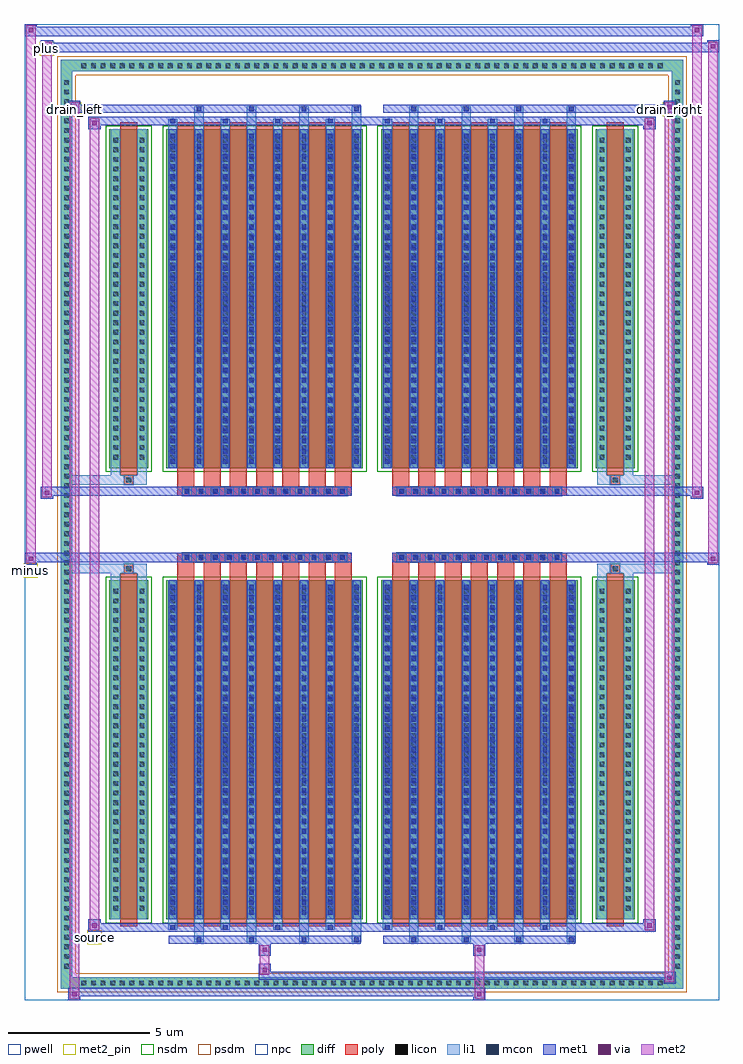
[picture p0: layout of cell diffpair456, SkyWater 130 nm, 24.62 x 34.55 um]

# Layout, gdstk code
import gdstk
lib = gdstk.Library(unit=1e-6, precision=5e-09)
def R(c, l, rs):  # rectangles x0, y0, x1, y1
    for r in rs: c.add(gdstk.rectangle(r[:2], r[2:], *l))
def A(c, l, x, y, w, h, nx, ny, dx, dy):  # array of equal rectangles
    R(c, l, [(x+i*dx, y+j*dy, x+i*dx+w, y+j*dy+h) for i in range(nx) for j in range(ny)])
def P(c, l, *ps):  # polygons
    for p in ps: c.add(gdstk.Polygon(p, *l))
pwell = (64, 44)
diff = (65, 20)
poly = (66, 20)
licon = (66, 44)
li1 = (67, 20)
mcon = (67, 44)
met1 = (68, 20)
via = (68, 44)
met2_pin = (69, 16)
met2 = (69, 20)
nsdm = (93, 44)
psdm = (94, 20)
npc = (95, 20)

diffpair456 = lib.new_cell('diffpair456')
R(diffpair456, pwell, [(-12.29,-16.84,12.29,17.71), (-9.61,-15.03,-0.01,-0.805), (0.01,-15.03,9.61,-0.805), (-9.61,0.805,-0.01,15.03), (0.01,0.805,9.61,15.03)])
A(diffpair456, diff, -10.405, -16.44, 0.41, 0.41, 61, 2, 0.34, 32.47)
A(diffpair456, diff, -11.02, -15.845, 0.41, 0.41, 1, 93, 0, 0.34)
A(diffpair456, diff, 10.61, -15.845, 0.41, 0.41, 1, 93, 0, 0.34)
R(diffpair456, diff, [(-10.405,-16.44,10.405,-16.03), (-11.02,-15.845,-10.61,15.845), (10.61,-15.845,11.02,15.845), (-9.3,-13.985,-7.92,-1.985), (-7.28,-13.985,-0.32,-1.985), (0.32,-13.985,7.28,-1.985), (7.92,-13.985,9.3,-1.985), (-9.3,1.985,-7.92,13.985), (-7.28,1.985,-0.32,13.985), (0.32,1.985,7.28,13.985), (7.92,1.985,9.3,13.985), (-10.405,16.03,10.405,16.44)])
P(diffpair456, diff, [(11.02,16.44),(-11.02,16.44),(-11.02,-16.03),(-10.61,-16.03),(-10.61,16.03),(10.61,16.03),(10.61,-16.03),(-10.61,-16.03),(-11.02,-16.03),(-11.02,-16.44),(11.02,-16.44)])
A(diffpair456, poly, -6.89, -14.235, 0.6, 12.5, 7, 2, 0.93, 15.97)
A(diffpair456, poly, 0.71, -14.235, 0.6, 12.5, 7, 2, 0.93, 15.97)
A(diffpair456, poly, -6.89, -1.735, 0.6, 0.4, 7, 2, 0.93, 3.07)
A(diffpair456, poly, 0.71, -1.735, 0.6, 0.4, 7, 2, 0.93, 3.07)
A(diffpair456, poly, -6.715, -1.335, 0.33, 0.33, 12, 2, 0.5, 2.34)
A(diffpair456, poly, 0.885, -1.335, 0.33, 0.33, 12, 2, 0.5, 2.34)
R(diffpair456, poly, [(-8.91,-14.235,-8.31,-1.735), (8.31,-14.235,8.91,-1.735), (-8.775,-1.735,-8.445,-1.405), (-8.775,-1.735,-8.445,-1.405), (8.445,-1.735,8.775,-1.405), (8.445,-1.735,8.775,-1.405), (-6.89,-1.335,-0.71,-1.005), (0.71,-1.335,6.89,-1.005), (-6.89,1.005,-0.71,1.335), (0.71,1.005,6.89,1.335), (-8.775,1.405,-8.445,1.735), (-8.775,1.405,-8.445,1.735), (8.445,1.405,8.775,1.735), (8.445,1.405,8.775,1.735), (-8.91,1.735,-8.31,14.235), (8.31,1.735,8.91,14.235)])
A(diffpair456, licon, -10.285, -16.32, 0.17, 0.17, 61, 2, 0.34, 32.47)
A(diffpair456, licon, -10.9, -15.725, 0.17, 0.17, 1, 93, 0, 0.34)
A(diffpair456, licon, 10.73, -15.725, 0.17, 0.17, 1, 93, 0, 0.34)
A(diffpair456, licon, -9.16, -13.68, 0.17, 0.17, 1, 34, 0, 0.34)
A(diffpair456, licon, -8.23, -13.68, 0.17, 0.17, 1, 34, 0, 0.34)
A(diffpair456, licon, -7.14, -13.68, 0.17, 0.17, 8, 34, 0.93, 0.34)
A(diffpair456, licon, 0.46, -13.68, 0.17, 0.17, 8, 34, 0.93, 0.34)
A(diffpair456, licon, 8.06, -13.68, 0.17, 0.17, 1, 34, 0, 0.34)
A(diffpair456, licon, 8.99, -13.68, 0.17, 0.17, 1, 34, 0, 0.34)
A(diffpair456, licon, -6.635, -1.255, 0.17, 0.17, 12, 2, 0.5, 2.34)
A(diffpair456, licon, 0.965, -1.255, 0.17, 0.17, 12, 2, 0.5, 2.34)
A(diffpair456, licon, -9.16, 2.29, 0.17, 0.17, 1, 34, 0, 0.34)
A(diffpair456, licon, -8.23, 2.29, 0.17, 0.17, 1, 34, 0, 0.34)
A(diffpair456, licon, -7.14, 2.29, 0.17, 0.17, 8, 34, 0.93, 0.34)
A(diffpair456, licon, 0.46, 2.29, 0.17, 0.17, 8, 34, 0.93, 0.34)
A(diffpair456, licon, 8.06, 2.29, 0.17, 0.17, 1, 34, 0, 0.34)
A(diffpair456, licon, 8.99, 2.29, 0.17, 0.17, 1, 34, 0, 0.34)
R(diffpair456, licon, [(-8.695,-1.655,-8.525,-1.485), (8.525,-1.655,8.695,-1.485), (-8.695,1.485,-8.525,1.655), (8.525,1.485,8.695,1.655)])
A(diffpair456, li1, -10.365, -16.4, 0.33, 0.33, 61, 2, 0.34, 32.47)
A(diffpair456, li1, -10.98, -15.805, 0.33, 0.33, 1, 93, 0, 0.34)
A(diffpair456, li1, 10.65, -15.805, 0.33, 0.33, 1, 93, 0, 0.34)
A(diffpair456, li1, -6.29, -14.79, 0.33, 0.805, 4, 2, 1.86, 28.775)
A(diffpair456, li1, -6.21, -14.79, 0.17, 0.17, 4, 2, 1.86, 29.41)
A(diffpair456, li1, 1.31, -14.79, 0.33, 0.805, 4, 2, 1.86, 28.775)
A(diffpair456, li1, 1.39, -14.79, 0.17, 0.17, 4, 2, 1.86, 29.41)
A(diffpair456, li1, -7.22, -14.36, 0.33, 0.375, 4, 2, 1.86, 28.345)
A(diffpair456, li1, -7.14, -14.36, 0.17, 0.17, 4, 2, 1.86, 28.55)
A(diffpair456, li1, 0.38, -14.36, 0.33, 0.375, 4, 2, 1.86, 28.345)
A(diffpair456, li1, 0.46, -14.36, 0.17, 0.17, 4, 2, 1.86, 28.55)
A(diffpair456, li1, -7.22, -13.985, 0.33, 12, 8, 2, 0.93, 15.97)
A(diffpair456, li1, 0.38, -13.985, 0.33, 12, 8, 2, 0.93, 15.97)
A(diffpair456, li1, -7.14, -13.83, 0.17, 0.17, 8, 33, 0.93, 0.36)
A(diffpair456, li1, -7.14, -13.83, 0.17, 11.69, 8, 2, 0.93, 15.97)
A(diffpair456, li1, 0.46, -13.83, 0.17, 0.17, 8, 33, 0.93, 0.36)
A(diffpair456, li1, 0.46, -13.83, 0.17, 11.69, 8, 2, 0.93, 15.97)
A(diffpair456, li1, -9.24, -13.76, 0.33, 0.33, 1, 34, 0, 0.34)
A(diffpair456, li1, -8.31, -13.76, 0.33, 0.33, 1, 34, 0, 0.34)
A(diffpair456, li1, -7.22, -13.76, 0.33, 0.33, 8, 34, 0.93, 0.34)
A(diffpair456, li1, 0.38, -13.76, 0.33, 0.33, 8, 34, 0.93, 0.34)
A(diffpair456, li1, 7.98, -13.76, 0.33, 0.33, 1, 34, 0, 0.34)
A(diffpair456, li1, 8.91, -13.76, 0.33, 0.33, 1, 34, 0, 0.34)
A(diffpair456, li1, -6.715, -1.335, 0.33, 0.33, 12, 2, 0.5, 2.34)
A(diffpair456, li1, 0.885, -1.335, 0.33, 0.33, 12, 2, 0.5, 2.34)
A(diffpair456, li1, -7.14, 2.14, 0.17, 0.17, 8, 33, 0.93, 0.36)
A(diffpair456, li1, 0.46, 2.14, 0.17, 0.17, 8, 33, 0.93, 0.36)
A(diffpair456, li1, -9.24, 2.21, 0.33, 0.33, 1, 34, 0, 0.34)
A(diffpair456, li1, -8.31, 2.21, 0.33, 0.33, 1, 34, 0, 0.34)
A(diffpair456, li1, -7.22, 2.21, 0.33, 0.33, 8, 34, 0.93, 0.34)
A(diffpair456, li1, 0.38, 2.21, 0.33, 0.33, 8, 34, 0.93, 0.34)
A(diffpair456, li1, 7.98, 2.21, 0.33, 0.33, 1, 34, 0, 0.34)
A(diffpair456, li1, 8.91, 2.21, 0.33, 0.33, 1, 34, 0, 0.34)
R(diffpair456, li1, [(-11.02,-16.44,-10.61,-16.03), (-11.02,-16.44,-10.61,-16.03), (-10.61,-16.44,10.61,-16.03), (10.61,-16.44,11.02,-16.03), (10.61,-16.44,11.02,-16.03), (-11.02,-16.03,-10.61,16.03), (10.61,-16.03,11.02,16.03), (-9.24,-13.985,-8.91,-1.985), (-8.31,-13.985,-7.98,-1.985), (7.98,-13.985,8.31,-1.985), (8.91,-13.985,9.24,-1.985), (-9.24,-1.985,-8.91,-1.405), (-8.31,-1.985,-7.98,-1.405), (7.98,-1.985,8.31,-1.405), (8.91,-1.985,9.24,-1.405), (-11.02,-1.735,-8.775,-1.405), (-9.24,-1.735,-8.775,-1.405), (-8.775,-1.735,-8.445,-1.405), (-8.445,-1.735,-7.98,-1.405), (7.98,-1.735,8.445,-1.405), (8.445,-1.735,8.775,-1.405), (8.445,-1.735,11.02,-1.405), (8.775,-1.735,9.24,-1.405), (-11.02,1.405,-8.775,1.735), (-9.24,1.405,-8.775,1.735), (-9.24,1.405,-8.91,1.985), (-8.775,1.405,-8.445,1.735), (-8.445,1.405,-7.98,1.735), (-8.31,1.405,-7.98,1.985), (7.98,1.405,8.445,1.735), (7.98,1.405,8.31,1.985), (8.445,1.405,8.775,1.735), (8.445,1.405,11.02,1.735), (8.775,1.405,9.24,1.735), (8.91,1.405,9.24,1.985), (-9.24,1.985,-8.91,13.985), (-8.31,1.985,-7.98,13.985), (7.98,1.985,8.31,13.985), (8.91,1.985,9.24,13.985), (-11.02,16.03,-10.61,16.44), (-11.02,16.03,-10.61,16.44), (-10.61,16.03,10.61,16.44), (10.61,16.03,11.02,16.44), (10.61,16.03,11.02,16.44)])
A(diffpair456, mcon, -6.21, -14.79, 0.17, 0.17, 4, 2, 1.86, 29.41)
A(diffpair456, mcon, 1.39, -14.79, 0.17, 0.17, 4, 2, 1.86, 29.41)
A(diffpair456, mcon, -7.14, -14.36, 0.17, 0.17, 4, 2, 1.86, 28.55)
A(diffpair456, mcon, 0.46, -14.36, 0.17, 0.17, 4, 2, 1.86, 28.55)
A(diffpair456, mcon, -7.14, -13.83, 0.17, 0.17, 8, 33, 0.93, 0.36)
A(diffpair456, mcon, 0.46, -13.83, 0.17, 0.17, 8, 33, 0.93, 0.36)
A(diffpair456, mcon, -6.635, -1.255, 0.17, 0.17, 12, 2, 0.5, 2.34)
A(diffpair456, mcon, 0.965, -1.255, 0.17, 0.17, 12, 2, 0.5, 2.34)
A(diffpair456, mcon, -7.14, 2.14, 0.17, 0.17, 8, 33, 0.93, 0.36)
A(diffpair456, mcon, 0.46, 2.14, 0.17, 0.17, 8, 33, 0.93, 0.36)
A(diffpair456, met1, -6.27, -14.85, 0.29, 0.29, 4, 2, 1.86, 29.41)
A(diffpair456, met1, 1.33, -14.85, 0.29, 0.29, 4, 2, 1.86, 29.41)
A(diffpair456, met1, -7.2, -14.42, 0.29, 0.29, 4, 2, 1.86, 28.55)
A(diffpair456, met1, 0.4, -14.42, 0.29, 0.29, 4, 2, 1.86, 28.55)
A(diffpair456, met1, -7.2, -13.985, 0.29, 12, 8, 2, 0.93, 15.97)
A(diffpair456, met1, 0.4, -13.985, 0.29, 12, 8, 2, 0.93, 15.97)
A(diffpair456, met1, -7.2, -13.89, 0.29, 0.29, 8, 33, 0.93, 0.36)
A(diffpair456, met1, 0.4, -13.89, 0.29, 0.29, 8, 33, 0.93, 0.36)
A(diffpair456, met1, -6.695, -1.315, 0.29, 0.29, 12, 2, 0.5, 2.34)
A(diffpair456, met1, 0.905, -1.315, 0.29, 0.29, 12, 2, 0.5, 2.34)
A(diffpair456, met1, -7.2, 2.08, 0.29, 0.29, 8, 33, 0.93, 0.36)
A(diffpair456, met1, 0.4, 2.08, 0.29, 0.29, 8, 33, 0.93, 0.36)
R(diffpair456, met1, [(-10.75,-16.84,-10.32,-16.41), (3.585,-16.84,4.015,-16.41), (-10.75,-16.7,4.015,-16.41), (10.32,-16.27,10.75,-15.84), (-4.015,-16.13,10.75,-15.84), (-4.015,-15.99,-3.585,-15.56), (-4.015,-15.28,-3.585,-14.85), (3.585,-15.28,4.015,-14.85), (-7.2,-14.85,-0.4,-14.56), (0.4,-14.85,7.2,-14.56), (-10.04,-14.42,-9.61,-13.99), (-10.04,-14.42,-7.2,-14.13), (-7.2,-14.42,-0.4,-14.13), (-0.4,-14.42,0.4,-14.13), (0.4,-14.42,7.2,-14.13), (7.2,-14.42,10.04,-14.13), (9.61,-14.42,10.04,-13.99), (-12.29,-1.435,-11.86,-1.005), (11.86,-1.435,12.29,-1.005), (-12.29,-1.335,-0.71,-1.005), (-6.89,-1.335,-0.71,-1.005), (0.71,-1.335,6.89,-1.005), (0.71,-1.335,12.29,-1.005), (-11.72,0.905,-11.29,1.335), (11.29,0.905,11.72,1.335), (-11.72,1.005,-6.89,1.335), (-6.89,1.005,-0.71,1.335), (0.71,1.005,6.89,1.335), (6.89,1.005,11.72,1.335), (-10.04,13.99,-9.61,14.42), (9.61,13.99,10.04,14.42), (-10.04,14.13,-7.2,14.42), (-7.2,14.13,-0.4,14.42), (-0.4,14.13,0.4,14.42), (0.4,14.13,7.2,14.42), (7.2,14.13,10.04,14.42), (-10.75,14.56,-10.32,14.99), (-10.75,14.56,-7.2,14.85), (-7.2,14.56,-0.4,14.85), (0.4,14.56,7.2,14.85), (7.2,14.56,10.75,14.85), (10.32,14.56,10.75,14.99), (-11.72,16.71,-11.29,17.14), (-11.72,16.71,-9.61,17.04), (-9.61,16.71,9.61,17.04), (9.61,16.71,12.29,17.04), (11.86,16.71,12.29,17.14), (-12.29,17.28,-11.86,17.71), (-12.29,17.28,-9.61,17.61), (-9.61,17.28,9.61,17.61), (9.61,17.28,11.72,17.61), (11.29,17.28,11.72,17.71)])
R(diffpair456, via, [(-10.61,-16.7,-10.46,-16.55), (3.725,-16.7,3.875,-16.55), (10.46,-16.13,10.61,-15.98), (-3.875,-15.85,-3.725,-15.7), (-3.875,-15.14,-3.725,-14.99), (3.725,-15.14,3.875,-14.99), (-9.9,-14.28,-9.75,-14.13), (9.75,-14.28,9.9,-14.13), (-12.15,-1.295,-12,-1.145), (12,-1.295,12.15,-1.145), (-11.58,1.045,-11.43,1.195), (11.43,1.045,11.58,1.195), (-9.9,14.13,-9.75,14.28), (9.75,14.13,9.9,14.28), (-10.61,14.7,-10.46,14.85), (10.46,14.7,10.61,14.85), (-11.58,16.85,-11.43,17), (12,16.85,12.15,17), (-12.15,17.42,-12,17.57), (11.43,17.42,11.58,17.57)])
R(diffpair456, met2_pin, [(-10.075,-14.87,-9.575,-14.37), (-12.325,-1.885,-11.825,-1.385), (-10.785,14.44,-10.285,14.94), (10.285,14.44,10.785,14.94), (-11.755,16.59,-11.255,17.09)])
R(diffpair456, met2, [(-10.7,-16.79,-10.37,-16.46), (-10.7,-16.79,-10.37,14.94), (3.635,-16.79,3.965,-16.46), (3.635,-16.46,3.965,-15.23), (10.37,-16.22,10.7,-15.89), (10.37,-16.22,10.7,14.94), (-3.965,-15.94,-3.635,-15.61), (-3.965,-15.61,-3.635,-15.23), (-3.965,-15.23,-3.635,-14.9), (3.635,-15.23,3.965,-14.9), (-9.99,-14.37,-9.66,-14.04), (-9.99,-14.37,-9.66,14.37), (9.66,-14.37,9.99,-14.04), (9.66,-14.37,9.99,14.37), (-12.24,-1.385,-11.91,-1.055), (-12.24,-1.385,-11.91,17.66), (11.91,-1.385,12.24,-1.055), (11.91,-1.385,12.24,17.09), (-11.67,0.955,-11.34,1.285), (-11.67,0.955,-11.34,17.09), (11.34,0.955,11.67,1.285), (11.34,0.955,11.67,17.66), (-9.99,14.04,-9.66,14.37), (9.66,14.04,9.99,14.37), (-10.7,14.61,-10.37,14.94), (10.37,14.61,10.7,14.94), (-11.67,16.76,-11.34,17.09), (11.91,16.76,12.24,17.09), (-12.24,17.33,-11.91,17.66), (11.34,17.33,11.67,17.66)])
P(diffpair456, met2, [(12.24,-1.385),(12.24,-1.385),(12.24,-1.055),(12.24,-1.055)],
  [(12.24,16.76),(12.24,16.76),(12.24,17.09),(12.24,17.09)],
  [(-11.91,-1.385),(-11.91,-1.385),(-11.91,-1.055),(-11.91,-1.055)],
  [(-11.91,17.33),(-11.91,17.33),(-11.91,17.66),(-11.91,17.66)],
  [(11.67,0.955),(11.67,0.955),(11.67,1.285),(11.67,1.285)],
  [(11.67,17.33),(11.67,17.33),(11.67,17.66),(11.67,17.66)],
  [(-11.34,0.955),(-11.34,0.955),(-11.34,1.285),(-11.34,1.285)],
  [(-11.34,16.76),(-11.34,16.76),(-11.34,17.09),(-11.34,17.09)],
  [(-10.37,-16.79),(-10.37,-16.79),(-10.37,-16.46),(-10.37,-16.46)],
  [(-10.37,14.61),(-10.37,14.61),(-10.37,14.94),(-10.37,14.94)],
  [(10.7,-16.22),(10.7,-16.22),(10.7,-15.89),(10.7,-15.89)],
  [(10.7,14.61),(10.7,14.61),(10.7,14.94),(10.7,14.94)],
  [(-9.66,-14.37),(-9.66,-14.37),(-9.66,-14.04),(-9.66,-14.04)],
  [(-9.66,14.04),(-9.66,14.04),(-9.66,14.37),(-9.66,14.37)],
  [(9.99,-14.37),(9.99,-14.37),(9.99,-14.04),(9.99,-14.04)],
  [(9.99,14.04),(9.99,14.04),(9.99,14.37),(9.99,14.37)])
R(diffpair456, nsdm, [(-9.43,-14.115,-7.79,-1.855), (-7.41,-14.115,-0.19,-1.855), (0.19,-14.115,7.41,-1.855), (7.79,-14.115,9.43,-1.855), (-9.43,1.855,-7.79,14.115), (-7.41,1.855,-0.19,14.115), (0.19,1.855,7.41,14.115), (7.79,1.855,9.43,14.115)])
P(diffpair456, psdm, [(11.15,16.57),(-11.15,16.57),(-11.15,-15.9),(-10.48,-15.9),(-10.48,15.9),(10.48,15.9),(10.48,-15.9),(-10.48,-15.9),(-11.15,-15.9),(-11.15,-16.57),(11.15,-16.57)])
A(diffpair456, npc, -6.735, -1.355, 0.37, 0.37, 12, 2, 0.5, 2.34)
A(diffpair456, npc, 0.865, -1.355, 0.37, 0.37, 12, 2, 0.5, 2.34)
R(diffpair456, npc, [(-8.795,-1.755,-8.425,-1.385), (8.425,-1.755,8.795,-1.385), (-6.735,-1.355,-5.865,-0.985), (-6.735,-1.355,-5.865,-0.985), (-6.235,-1.355,-5.365,-0.985), (-6.235,-1.355,-5.365,-0.985), (-5.735,-1.355,-4.865,-0.985), (-5.735,-1.355,-4.865,-0.985), (-5.235,-1.355,-4.365,-0.985), (-5.235,-1.355,-4.365,-0.985), (-4.735,-1.355,-3.865,-0.985), (-4.735,-1.355,-3.865,-0.985), (-4.235,-1.355,-3.365,-0.985), (-4.235,-1.355,-3.365,-0.985), (-3.735,-1.355,-2.865,-0.985), (-3.735,-1.355,-2.865,-0.985), (-3.235,-1.355,-2.365,-0.985), (-3.235,-1.355,-2.365,-0.985), (-2.735,-1.355,-1.865,-0.985), (-2.735,-1.355,-1.865,-0.985), (-2.235,-1.355,-1.365,-0.985), (-2.235,-1.355,-1.365,-0.985), (-1.735,-1.355,-0.865,-0.985), (-1.735,-1.355,-0.865,-0.985), (0.865,-1.355,1.735,-0.985), (0.865,-1.355,1.735,-0.985), (1.365,-1.355,2.235,-0.985), (1.365,-1.355,2.235,-0.985), (1.865,-1.355,2.735,-0.985), (1.865,-1.355,2.735,-0.985), (2.365,-1.355,3.235,-0.985), (2.365,-1.355,3.235,-0.985), (2.865,-1.355,3.735,-0.985), (2.865,-1.355,3.735,-0.985), (3.365,-1.355,4.235,-0.985), (3.365,-1.355,4.235,-0.985), (3.865,-1.355,4.735,-0.985), (3.865,-1.355,4.735,-0.985), (4.365,-1.355,5.235,-0.985), (4.365,-1.355,5.235,-0.985), (4.865,-1.355,5.735,-0.985), (4.865,-1.355,5.735,-0.985), (5.365,-1.355,6.235,-0.985), (5.365,-1.355,6.235,-0.985), (5.865,-1.355,6.735,-0.985), (5.865,-1.355,6.735,-0.985), (-6.735,0.985,-5.865,1.355), (-6.735,0.985,-5.865,1.355), (-6.235,0.985,-5.365,1.355), (-6.235,0.985,-5.365,1.355), (-5.735,0.985,-4.865,1.355), (-5.735,0.985,-4.865,1.355), (-5.235,0.985,-4.365,1.355), (-5.235,0.985,-4.365,1.355), (-4.735,0.985,-3.865,1.355), (-4.735,0.985,-3.865,1.355), (-4.235,0.985,-3.365,1.355), (-4.235,0.985,-3.365,1.355), (-3.735,0.985,-2.865,1.355), (-3.735,0.985,-2.865,1.355), (-3.235,0.985,-2.365,1.355), (-3.235,0.985,-2.365,1.355), (-2.735,0.985,-1.865,1.355), (-2.735,0.985,-1.865,1.355), (-2.235,0.985,-1.365,1.355), (-2.235,0.985,-1.365,1.355), (-1.735,0.985,-0.865,1.355), (-1.735,0.985,-0.865,1.355), (0.865,0.985,1.735,1.355), (0.865,0.985,1.735,1.355), (1.365,0.985,2.235,1.355), (1.365,0.985,2.235,1.355), (1.865,0.985,2.735,1.355), (1.865,0.985,2.735,1.355), (2.365,0.985,3.235,1.355), (2.365,0.985,3.235,1.355), (2.865,0.985,3.735,1.355), (2.865,0.985,3.735,1.355), (3.365,0.985,4.235,1.355), (3.365,0.985,4.235,1.355), (3.865,0.985,4.735,1.355), (3.865,0.985,4.735,1.355), (4.365,0.985,5.235,1.355), (4.365,0.985,5.235,1.355), (4.865,0.985,5.735,1.355), (4.865,0.985,5.735,1.355), (5.365,0.985,6.235,1.355), (5.365,0.985,6.235,1.355), (5.865,0.985,6.735,1.355), (5.865,0.985,6.735,1.355), (-8.795,1.385,-8.425,1.755), (8.425,1.385,8.795,1.755)])
diffpair456.add(gdstk.Label('minus', (-12.075,-1.635), layer=69, texttype=5))
diffpair456.add(gdstk.Label('drain_right', (10.535,14.69), layer=69, texttype=5))
diffpair456.add(gdstk.Label('drain_left', (-10.535,14.69), layer=69, texttype=5))
diffpair456.add(gdstk.Label('source', (-9.825,-14.62), layer=69, texttype=5))
diffpair456.add(gdstk.Label('plus', (-11.505,16.84), layer=69, texttype=5))

lib.write_gds('diffpair456.gds')
